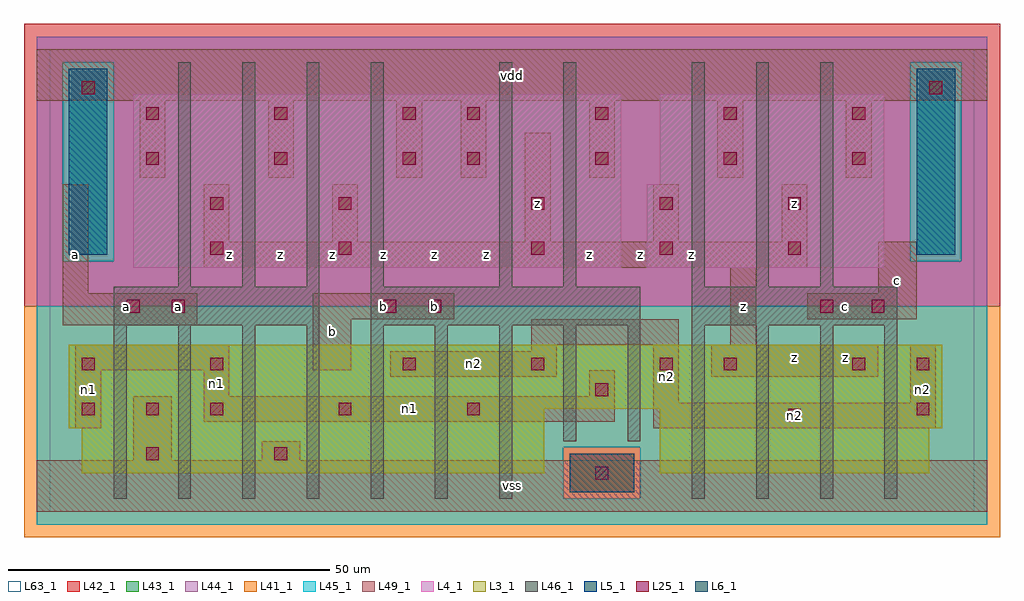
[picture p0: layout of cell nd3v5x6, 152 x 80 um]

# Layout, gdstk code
import gdstk
lib = gdstk.Library(unit=1e-6, precision=1e-09)
def R(c, l, rs):  # rectangles x0, y0, x1, y1
    for r in rs: c.add(gdstk.rectangle(r[:2], r[2:], *l))
def A(c, l, x, y, w, h, nx, ny, dx, dy):  # array of equal rectangles
    R(c, l, [(x+i*dx, y+j*dy, x+i*dx+w, y+j*dy+h) for i in range(nx) for j in range(ny)])
L3_1 = (3, 1)
L4_1 = (4, 1)
L5_1 = (5, 1)
L6_1 = (6, 1)
L25_1 = (25, 1)
L41_1 = (41, 1)
L42_1 = (42, 1)
L43_1 = (43, 1)
L44_1 = (44, 1)
L45_1 = (45, 1)
L46_1 = (46, 1)
L49_1 = (49, 1)
L63_1 = (63, 1)

nd3v5x6 = lib.new_cell('nd3v5x6')
R(nd3v5x6, L3_1, [(5,6,77,13), (95,6,137,13), (3,13,77,16), (95,13,139,16), (3,16,139,26)])
R(nd3v5x6, L4_1, [(13,38,89,65), (93,38,130,51), (95,51,130,65)])
R(nd3v5x6, L5_1, [(3,40,9,69), (135,40,141,69)])
R(nd3v5x6, L6_1, [(81,3,91,9), (81,3,91,9)])
A(nd3v5x6, L25_1, 5, 15, 2, 2, 3, 1, 10, 0)
A(nd3v5x6, L25_1, 55, 22, 2, 2, 3, 1, 20, 0)
A(nd3v5x6, L25_1, 75, 40, 2, 2, 3, 2, 20, 7)
A(nd3v5x6, L25_1, 15, 54, 2, 2, 3, 2, 20, 7)
A(nd3v5x6, L25_1, 65, 54, 2, 2, 4, 2, 20, 7)
R(nd3v5x6, L25_1, [(85,5,87,7), (15,8,17,10), (35,8,37,10), (115,14,117,16), (45,15,47,17), (65,15,67,17), (135,15,137,17), (85,18,87,20), (5,22,7,24), (25,22,27,24), (105,22,107,24), (125,22,127,24), (135,22,137,24), (12,31,14,33), (19,31,21,33), (52,31,54,33), (59,31,61,33), (120,31,122,33), (128,31,130,33), (25,40,27,42), (45,40,47,42), (25,47,27,49), (45,47,47,49), (5,65,7,67), (137,65,139,67)])
R(nd3v5x6, L41_1, [(-4,-4,148,32)])
R(nd3v5x6, L42_1, [(-4,32,148,76)])
R(nd3v5x6, L43_1, [(81,3,91,9), (5,6,77,13), (95,6,137,13), (3,13,77,16), (95,13,139,16), (3,16,139,26), (13,38,89,65), (93,38,130,51), (3,40,9,69), (135,40,141,69), (95,51,130,65)])
R(nd3v5x6, L44_1, [(80,2,92,10), (-2,32,146,39), (-2,39,2,70), (10,39,134,70), (142,39,146,70), (-2,70,146,74)])
R(nd3v5x6, L45_1, [(-2,-2,146,2), (-2,2,80,10), (92,2,146,10), (-2,10,146,32), (2,39,10,70), (134,39,142,70)])
A(nd3v5x6, L46_1, 10, 2, 2, 27, 7, 1, 10, 0)
A(nd3v5x6, L46_1, 100, 2, 2, 27, 4, 1, 10, 0)
A(nd3v5x6, L46_1, 20, 35, 2, 35, 4, 1, 10, 0)
A(nd3v5x6, L46_1, 100, 35, 2, 35, 3, 1, 10, 0)
R(nd3v5x6, L46_1, [(80,11,82,29), (90,11,92,29), (10,29,42,35), (50,29,92,35), (100,29,132,35), (70,35,72,70), (80,35,82,70)])
A(nd3v5x6, L49_1, 14, 52, 4, 12, 3, 1, 20, 0)
A(nd3v5x6, L49_1, 64, 52, 4, 12, 4, 1, 20, 0)
R(nd3v5x6, L49_1, [(-2,0,146,8), (13,8,19,18), (33,8,39,11), (4,13,8,22), (94,13,138,17), (24,14,88,18), (94,17,98,26), (134,17,138,26), (24,18,28,22), (84,18,88,22), (53,21,79,25), (103,21,129,26), (4,22,28,26), (41,22,47,30), (75,25,79,26), (75,26,98,30), (106,26,110,38), (2,29,23,34), (41,30,63,34), (118,30,135,34), (2,34,6,51), (129,34,135,42), (24,38,118,42), (24,42,28,51), (44,42,48,51), (74,42,78,59), (94,42,98,51), (114,42,118,51), (-2,64,146,72)])
R(nd3v5x6, L63_1, [(0,0,144,72)])
nd3v5x6.add(gdstk.Label('n1', (6,19), layer=49, texttype=1))
nd3v5x6.add(gdstk.Label('a', (12,32), layer=49, texttype=1))
nd3v5x6.add(gdstk.Label('a', (20,32), layer=49, texttype=1))
nd3v5x6.add(gdstk.Label('a', (4,40), layer=49, texttype=1))
nd3v5x6.add(gdstk.Label('n1', (26,20), layer=49, texttype=1))
nd3v5x6.add(gdstk.Label('b', (52,32), layer=49, texttype=1))
nd3v5x6.add(gdstk.Label('b', (44,28), layer=49, texttype=1))
nd3v5x6.add(gdstk.Label('z', (28,40), layer=49, texttype=1))
nd3v5x6.add(gdstk.Label('z', (44,40), layer=49, texttype=1))
nd3v5x6.add(gdstk.Label('z', (52,40), layer=49, texttype=1))
nd3v5x6.add(gdstk.Label('z', (36,40), layer=49, texttype=1))
nd3v5x6.add(gdstk.Label('vss', (72,4), layer=49, texttype=1))
nd3v5x6.add(gdstk.Label('n2', (66,23), layer=49, texttype=1))
nd3v5x6.add(gdstk.Label('b', (60,32), layer=49, texttype=1))
nd3v5x6.add(gdstk.Label('z', (60,40), layer=49, texttype=1))
nd3v5x6.add(gdstk.Label('z', (84,40), layer=49, texttype=1))
nd3v5x6.add(gdstk.Label('z', (68,40), layer=49, texttype=1))
nd3v5x6.add(gdstk.Label('z', (76,48), layer=49, texttype=1))
nd3v5x6.add(gdstk.Label('vdd', (72,68), layer=49, texttype=1))
nd3v5x6.add(gdstk.Label('n1', (56,16), layer=49, texttype=1))
nd3v5x6.add(gdstk.Label('z', (108,32), layer=49, texttype=1))
nd3v5x6.add(gdstk.Label('n2', (96,21), layer=49, texttype=1))
nd3v5x6.add(gdstk.Label('z', (92,40), layer=49, texttype=1))
nd3v5x6.add(gdstk.Label('z', (100,40), layer=49, texttype=1))
nd3v5x6.add(gdstk.Label('n2', (136,19), layer=49, texttype=1))
nd3v5x6.add(gdstk.Label('n2', (116,15), layer=49, texttype=1))
nd3v5x6.add(gdstk.Label('z', (116,24), layer=49, texttype=1))
nd3v5x6.add(gdstk.Label('z', (124,24), layer=49, texttype=1))
nd3v5x6.add(gdstk.Label('c', (124,32), layer=49, texttype=1))
nd3v5x6.add(gdstk.Label('c', (132,36), layer=49, texttype=1))
nd3v5x6.add(gdstk.Label('z', (116,48), layer=49, texttype=1))

lib.write_gds('nd3v5x6.gds')
